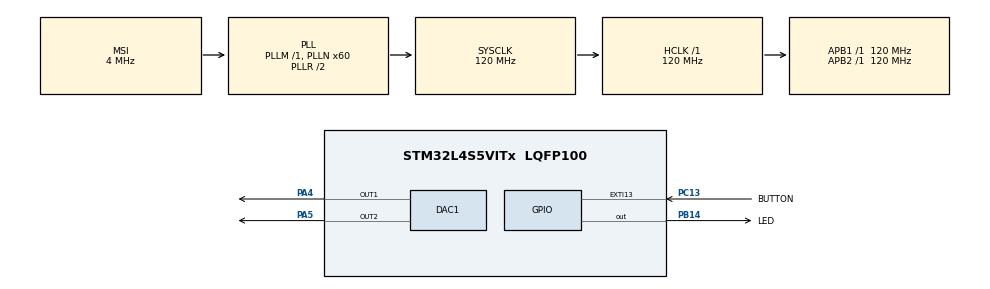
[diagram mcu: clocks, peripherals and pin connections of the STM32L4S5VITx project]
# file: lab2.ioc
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ADC1.Channel-0\#ChannelRegularConversion=ADC_CHANNEL_VREFINT
ADC1.Channel-1\#ChannelRegularConversion=ADC_CHANNEL_TEMPSENSOR
ADC1.NbrOfConversion=2
ADC1.NbrOfConversionFlag=1
ADC1.OffsetNumber-0\#ChannelRegularConversion=ADC_OFFSET_NONE
ADC1.OffsetNumber-1\#ChannelRegularConversion=ADC_OFFSET_NONE
ADC1.Rank-0\#ChannelRegularConversion=1
ADC1.Rank-1\#ChannelRegularConversion=2
ADC1.SamplingTime-0\#ChannelRegularConversion=ADC_SAMPLETIME_640CYCLES_5
ADC1.SamplingTime-1\#ChannelRegularConversion=ADC_SAMPLETIME_640CYCLES_5
ADC1.master=1
DAC1.DAC_Channel-DAC_OUT2=DAC_CHANNEL_2
Mcu.Family=STM32L4
Mcu.Name=STM32L4S5VITx
Mcu.Package=LQFP100
NVIC.PriorityGroup=NVIC_PRIORITYGROUP_4
PA13\ (JTMS/SWDIO).Signal=SYS_JTMS-SWDIO
PA4.Signal=COMP_DAC11_group
PA5.Signal=COMP_DAC12_group
PB14.GPIO_Label=LED
PB14.Signal=GPIO_Output
PB3\ (JTDO/TRACESWO).Signal=SYS_JTDO-SWO
PC13.GPIO_Label=BUTTON
PC13.Signal=GPXTI13
ProjectManager.HeapSize=0x200
ProjectManager.StackSize=0x400
ProjectManager.TargetToolchain=STM32CubeIDE
RCC.ADCFreq_Value=80000000
RCC.AHBFreq_Value=120000000
RCC.APB1Freq_Value=120000000
RCC.APB1TimFreq_Value=120000000
RCC.APB2Freq_Value=120000000
RCC.APB2TimFreq_Value=120000000
RCC.CortexFreq_Value=120000000
RCC.HCLKFreq_Value=120000000
RCC.HSE_VALUE=8000000
RCC.HSI48_VALUE=48000000
RCC.HSI_VALUE=16000000
RCC.LSE_VALUE=32768
RCC.MSI_VALUE=4000000
RCC.PLLN=60
RCC.PLLSAI1N=40
RCC.SYSCLKFreq_VALUE=120000000
RCC.SYSCLKSource=RCC_SYSCLKSOURCE_PLLCLK
RCC.USBFreq_Value=80000000
RCC.VCOOutputFreq_Value=240000000
SH.COMP_DAC11_group.0=DAC1_OUT1,DAC_OUT1
SH.COMP_DAC12_group.0=DAC1_OUT2,DAC_OUT2
VP_ADC1_TempSens_Input.Mode=IN-TempSens
VP_ADC1_Vref_Input.Mode=IN-Vrefint
board=B-L4S5I-IOT01A

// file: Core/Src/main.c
/* USER CODE BEGIN Header */
/**
  ******************************************************************************
  * @file           : main.c
  * @brief          : Main program body
  ******************************************************************************
  * @attention
  *
  * Copyright (c) 2025 STMicroelectronics.
  * All rights reserved.
  *
  * This software is licensed under terms that can be found in the LICENSE file
  * in the root directory of this software component.
  * If no LICENSE file comes with this software, it is provided AS-IS.
  *
  ******************************************************************************
  */
/* USER CODE END Header */
#include "main.h"

/* USER CODE BEGIN Includes */
#include "arm_math.h"
#include "stm32l4xx_hal.h"
#include <math.h>
#include "stm32l4xx_hal_dac.h"
/* USER CODE END Includes */

/* USER CODE BEGIN PTD */
typedef enum {MODE_FIXED, MODE_TEMP, MODE_INIT, BETTER_SOUND} AppMode;

/* USER CODE END PTD */

/* USER CODE BEGIN PD */
#define ARM_MATH_CM4
#define WAVE_STEPS 16

// for the "Making better sounds" section
#define SAMPLE_RATE 1000.0f   // Hz
#define SIGNAL_FREQ 50.0f     // Hz output sine frequency
#define DAC_MAX 4095.0f
/* USER CODE END PD */

ADC_HandleTypeDef hadc1;

DAC_HandleTypeDef hdac1;

/* USER CODE BEGIN PV */
	// vars to hold current output values
	uint32_t triangle = 0;
	uint32_t sawtooth = 0;
	uint32_t sine = 0;
	// index for stepping through wave arrays
	uint32_t i = 0;
	volatile float T;
	volatile uint8_t fixedWave = 0;              // 0=triangle,1=saw,2=sine
	AppMode appMode = MODE_INIT;       // default application mode

/* USER CODE END PV */

void SystemClock_Config(void);
static void MX_GPIO_Init(void);
static void MX_DAC1_Init(void);
static void MX_ADC1_Init(void);

int main(void)
{

  /* MCU Configuration--------------------------------------------------------*/

  /* Reset of all peripherals, Initializes the Flash interface and the Systick. */
  HAL_Init();

  /* Configure the system clock */
  SystemClock_Config();

  /* Initialize all configured peripherals */
  MX_GPIO_Init();
  MX_DAC1_Init();
  MX_ADC1_Init();
  /* USER CODE BEGIN 2 */
  uint32_t triangleWave[WAVE_STEPS];
  uint32_t sawtoothWave[WAVE_STEPS];
  uint32_t sineWave[WAVE_STEPS];

  GPIO_PinState lastButtonState = GPIO_PIN_SET; // not pressed

  // for the "better sound" section
  float phase = 0.0f;
  float phaseStep = 2.0f * PI * SIGNAL_FREQ / SAMPLE_RATE;

  // temperature -> frequency mapping
  float minFreq = 200.0f;   // lowest pitch
  float maxFreq = 1000.0f;  // highest pitch
  float tempMin = -40.0f;    // minimum temperature
  float tempMax = 120.0f;    // maximum temperature

  for (uint32_t j = 0; j < WAVE_STEPS; j++) {
      // triangle wave
      if (j < WAVE_STEPS / 2) {
          triangleWave[j] = j * (4095 / (WAVE_STEPS / 2));
      } else {
          triangleWave[j] = 4095 - (j - WAVE_STEPS / 2) * (4095 / (WAVE_STEPS / 2));
      }

      // sawtooth wave
      sawtoothWave[j] = j * (4095 / WAVE_STEPS);

      // sine wave
      float angle = 2.0f * M_PI * ((float)j / (float)WAVE_STEPS); // 0 to 2π
      sineWave[j] = (uint32_t)((sin(angle) + 1.0f) * 2047.5f); // scale to 0-4095
  }

  /* USER CODE END 2 */

  /* Infinite loop */
  while (1)
  {

    /* USER CODE BEGIN 3 */
	  // set DAC values
	  triangle = triangleWave[i];
	  sawtooth = sawtoothWave[i];
	  sine = sineWave[i];

	  // making better sound
      float betterSine = arm_sin_f32(phase);   // sine in [-1, 1]
      uint32_t betterSineDAC = (uint32_t)((betterSine + 1.0f) * 0.5f * DAC_MAX);
      HAL_DAC_SetValue(&hdac1, DAC_CHANNEL_2, DAC_ALIGN_12B_R, betterSineDAC);
      phase += phaseStep;
      if (phase >= 2.0f * PI) phase -= 2.0f * PI;

	  // detect button press
	  GPIO_PinState buttonState = HAL_GPIO_ReadPin(BUTTON_GPIO_Port, BUTTON_Pin);

	  if (lastButtonState == GPIO_PIN_SET && buttonState == GPIO_PIN_RESET) {
	      // button just pressed
	      if (appMode == MODE_INIT) {
	          appMode = MODE_TEMP;   // switch to temperature mode
	          HAL_GPIO_WritePin(LED_GPIO_Port, LED_Pin, GPIO_PIN_SET);  // LED on
	      } else {
	          appMode = MODE_FIXED;  // switch back to fixed mode
	          fixedWave = (fixedWave + 1) % 3;
	          HAL_GPIO_WritePin(LED_GPIO_Port, LED_Pin, GPIO_PIN_RESET); // LED off
	      }
	  }
	  lastButtonState = buttonState;

	  ADC_ChannelConfTypeDef sConfig = {0};
	  // read vrefint
	  float VREF;
	  uint16_t refVoltage;
	  sConfig.Channel = ADC_CHANNEL_VREFINT;
	  sConfig.Rank = ADC_REGULAR_RANK_1;
	  sConfig.SamplingTime = ADC_SAMPLETIME_640CYCLES_5;// long enough for the min 5 us
	  HAL_ADC_ConfigChannel(&hadc1, &sConfig);
	  HAL_ADC_Start(&hadc1);
	  if(HAL_ADC_PollForConversion(&hadc1, 100) == HAL_OK) {
		  refVoltage = HAL_ADC_GetValue(&hadc1);
		  int32_t VREFINT = *((uint16_t*) (0x1FFF75AAUL));
		  VREF = 3.0f * (float)VREFINT / (float)refVoltage;
	  }

	  // read temp sensor
	  uint16_t VTEMP;
	  sConfig.Channel = ADC_CHANNEL_TEMPSENSOR;
	  HAL_ADC_ConfigChannel(&hadc1, &sConfig);
	  HAL_ADC_Start(&hadc1);
	  if(HAL_ADC_PollForConversion(&hadc1, 100) == HAL_OK) {
		  VTEMP = HAL_ADC_GetValue(&hadc1);

		  int32_t TS_CAL1 = *((uint16_t*) (0x1FFF75A8UL));
		  int32_t TS_CAL2 = *((uint16_t*) (0x1FFF75CAUL));

		  float first = (130.0f - 30.0f) / ((float)(TS_CAL2 - TS_CAL1));
		  float second = (VTEMP * (VREF / 3.0f)) - (float)(TS_CAL1);
		  T = first * second + 30.0f;

	  }

	  // Un-comment this to override into the better_sound mode
	  // appMode = BETTER_SOUND;

	  uint32_t dacValue;
	  switch(appMode) {
	  	  case MODE_FIXED:
	  		  switch(fixedWave) {
				  case 0: dacValue = sawtoothWave[i]; break;
				  case 1: dacValue = triangleWave[i]; break;
				  case 2: dacValue = sineWave[i]; break;
	  		  }
	  		  break;
	  	  case MODE_TEMP:
	  		  // normalize temperature 0..1
	  		  float tempNorm = (T - tempMin) / (tempMax - tempMin);
	  		  if (tempNorm < 0) tempNorm = 0;
	  		  if (tempNorm > 1) tempNorm = 1;

	  		  // map temperature to frequency
	  		  float freq = minFreq + tempNorm * (maxFreq - minFreq);

	  		  phaseStep = 2.0f * PI * freq / SAMPLE_RATE; // SAMPLE_RATE = DAC update rate
	  		  phase += phaseStep;
	  		  if(phase >= 2.0f*PI) phase -= 2.0f*PI;
	  		  dacValue = (uint32_t)((arm_sin_f32(phase)+1.0f)*0.5f*DAC_MAX);

	  		  break;
	  	  case MODE_INIT:
	  		  dacValue = sawtoothWave[i]; break;
	  	  case BETTER_SOUND:
	  		  dacValue = betterSineDAC;
	  }

      // write to DAC channel 1 (speaker output)
      HAL_DAC_SetValue(&hdac1, DAC_CHANNEL_1, DAC_ALIGN_12B_R, dacValue);

	  // increment index, wrap around automatically
	  i = (i + 1) % WAVE_STEPS;

	  // wait to get a roughly 500 us - 1ms period
	  for (volatile int j = 0; j < 100; j++); // this gives 1.2 kHz frequency
  }
  /* USER CODE END 3 */
}

void SystemClock_Config(void)
{
  RCC_OscInitTypeDef RCC_OscInitStruct = {0};
  RCC_ClkInitTypeDef RCC_ClkInitStruct = {0};

  /** Configure the main internal regulator output voltage
  */
  if (HAL_PWREx_ControlVoltageScaling(PWR_REGULATOR_VOLTAGE_SCALE1_BOOST) != HAL_OK)
  {
    Error_Handler();
  }

  /** Initializes the RCC Oscillators according to the specified parameters
  * in the RCC_OscInitTypeDef structure.
  */
  RCC_OscInitStruct.OscillatorType = RCC_OSCILLATORTYPE_MSI;
  RCC_OscInitStruct.MSIState = RCC_MSI_ON;
  RCC_OscInitStruct.MSICalibrationValue = 0;
  RCC_OscInitStruct.MSIClockRange = RCC_MSIRANGE_6;
  RCC_OscInitStruct.PLL.PLLState = RCC_PLL_ON;
  RCC_OscInitStruct.PLL.PLLSource = RCC_PLLSOURCE_MSI;
  RCC_OscInitStruct.PLL.PLLM = 1;
  RCC_OscInitStruct.PLL.PLLN = 60;
  RCC_OscInitStruct.PLL.PLLP = RCC_PLLP_DIV2;
  RCC_OscInitStruct.PLL.PLLQ = RCC_PLLQ_DIV2;
  RCC_OscInitStruct.PLL.PLLR = RCC_PLLR_DIV2;
  if (HAL_RCC_OscConfig(&RCC_OscInitStruct) != HAL_OK)
  {
    Error_Handler();
  }

  /** Initializes the CPU, AHB and APB buses clocks
  */
  RCC_ClkInitStruct.ClockType = RCC_CLOCKTYPE_HCLK|RCC_CLOCKTYPE_SYSCLK
                              |RCC_CLOCKTYPE_PCLK1|RCC_CLOCKTYPE_PCLK2;
  RCC_ClkInitStruct.SYSCLKSource = RCC_SYSCLKSOURCE_PLLCLK;
  RCC_ClkInitStruct.AHBCLKDivider = RCC_SYSCLK_DIV1;
  RCC_ClkInitStruct.APB1CLKDivider = RCC_HCLK_DIV1;
  RCC_ClkInitStruct.APB2CLKDivider = RCC_HCLK_DIV1;

  if (HAL_RCC_ClockConfig(&RCC_ClkInitStruct, FLASH_LATENCY_5) != HAL_OK)
  {
    Error_Handler();
  }
}

static void MX_ADC1_Init(void)
{

  ADC_ChannelConfTypeDef sConfig = {0};

  /** Common config
  */
  hadc1.Instance = ADC1;
  hadc1.Init.ClockPrescaler = ADC_CLOCK_ASYNC_DIV1;
  hadc1.Init.Resolution = ADC_RESOLUTION_12B;
  hadc1.Init.DataAlign = ADC_DATAALIGN_RIGHT;
  hadc1.Init.ScanConvMode = ADC_SCAN_ENABLE;
  hadc1.Init.EOCSelection = ADC_EOC_SINGLE_CONV;
  hadc1.Init.LowPowerAutoWait = DISABLE;
  hadc1.Init.ContinuousConvMode = DISABLE;
  hadc1.Init.NbrOfConversion = 2;
  hadc1.Init.DiscontinuousConvMode = DISABLE;
  hadc1.Init.ExternalTrigConv = ADC_SOFTWARE_START;
  hadc1.Init.ExternalTrigConvEdge = ADC_EXTERNALTRIGCONVEDGE_NONE;
  hadc1.Init.DMAContinuousRequests = DISABLE;
  hadc1.Init.Overrun = ADC_OVR_DATA_PRESERVED;
  hadc1.Init.OversamplingMode = DISABLE;
  if (HAL_ADC_Init(&hadc1) != HAL_OK)
  {
    Error_Handler();
  }

  /** Configure Regular Channel
  */
  sConfig.Channel = ADC_CHANNEL_VREFINT;
  sConfig.Rank = ADC_REGULAR_RANK_1;
  sConfig.SamplingTime = ADC_SAMPLETIME_640CYCLES_5;
  sConfig.SingleDiff = ADC_SINGLE_ENDED;
  sConfig.OffsetNumber = ADC_OFFSET_NONE;
  sConfig.Offset = 0;
  if (HAL_ADC_ConfigChannel(&hadc1, &sConfig) != HAL_OK)
  {
    Error_Handler();
  }

  /** Configure Regular Channel
  */
  sConfig.Channel = ADC_CHANNEL_TEMPSENSOR;
  sConfig.Rank = ADC_REGULAR_RANK_2;
  if (HAL_ADC_ConfigChannel(&hadc1, &sConfig) != HAL_OK)
  {
    Error_Handler();
  }

}

static void MX_DAC1_Init(void)
{

  /* USER CODE BEGIN DAC1_Init 0 */
	  __HAL_RCC_DAC1_CLK_ENABLE();
	  hdac1.Instance = DAC1;
	  HAL_DAC_Init(&hdac1);
  /* USER CODE END DAC1_Init 0 */

  DAC_ChannelConfTypeDef sConfig = {0};

  /* USER CODE BEGIN DAC1_Init 1 */

	  sConfig.DAC_Trigger = DAC_TRIGGER_NONE;
	  sConfig.DAC_OutputBuffer = DAC_OUTPUTBUFFER_ENABLE;

	  HAL_DAC_ConfigChannel(&hdac1, &sConfig, DAC_CHANNEL_1);
	  HAL_DAC_ConfigChannel(&hdac1, &sConfig, DAC_CHANNEL_2);

	  // Enable DAC channels
	  HAL_DAC_Start(&hdac1, DAC_CHANNEL_1);
	  HAL_DAC_Start(&hdac1, DAC_CHANNEL_2);
  /* USER CODE END DAC1_Init 1 */

  /** DAC Initialization
  */
  hdac1.Instance = DAC1;
  if (HAL_DAC_Init(&hdac1) != HAL_OK)
  {
    Error_Handler();
  }

  /** DAC channel OUT1 config
  */
  sConfig.DAC_SampleAndHold = DAC_SAMPLEANDHOLD_DISABLE;
  sConfig.DAC_Trigger = DAC_TRIGGER_NONE;
  sConfig.DAC_HighFrequency = DAC_HIGH_FREQUENCY_INTERFACE_MODE_ABOVE_80MHZ;
  sConfig.DAC_OutputBuffer = DAC_OUTPUTBUFFER_ENABLE;
  sConfig.DAC_ConnectOnChipPeripheral = DAC_CHIPCONNECT_DISABLE;
  sConfig.DAC_UserTrimming = DAC_TRIMMING_FACTORY;
  if (HAL_DAC_ConfigChannel(&hdac1, &sConfig, DAC_CHANNEL_1) != HAL_OK)
  {
    Error_Handler();
  }

  /** DAC channel OUT2 config
  */
  if (HAL_DAC_ConfigChannel(&hdac1, &sConfig, DAC_CHANNEL_2) != HAL_OK)
  {
    Error_Handler();
  }

}

static void MX_GPIO_Init(void)
{
  GPIO_InitTypeDef GPIO_InitStruct = {0};

  /* GPIO Ports Clock Enable */
  __HAL_RCC_GPIOC_CLK_ENABLE();
  __HAL_RCC_GPIOA_CLK_ENABLE();
  __HAL_RCC_GPIOB_CLK_ENABLE();

  /*Configure GPIO pin Output Level */
  HAL_GPIO_WritePin(LED_GPIO_Port, LED_Pin, GPIO_PIN_RESET);

  /*Configure GPIO pin : BUTTON_Pin */
  GPIO_InitStruct.Pin = BUTTON_Pin;
  GPIO_InitStruct.Mode = GPIO_MODE_IT_RISING;
  GPIO_InitStruct.Pull = GPIO_NOPULL;
  HAL_GPIO_Init(BUTTON_GPIO_Port, &GPIO_InitStruct);

  /*Configure GPIO pin : LED_Pin */
  GPIO_InitStruct.Pin = LED_Pin;
  GPIO_InitStruct.Mode = GPIO_MODE_OUTPUT_PP;
  GPIO_InitStruct.Pull = GPIO_NOPULL;
  GPIO_InitStruct.Speed = GPIO_SPEED_FREQ_LOW;
  HAL_GPIO_Init(LED_GPIO_Port, &GPIO_InitStruct);

}

void Error_Handler(void)
{
  __disable_irq();
  while (1)
  {
  }
}
